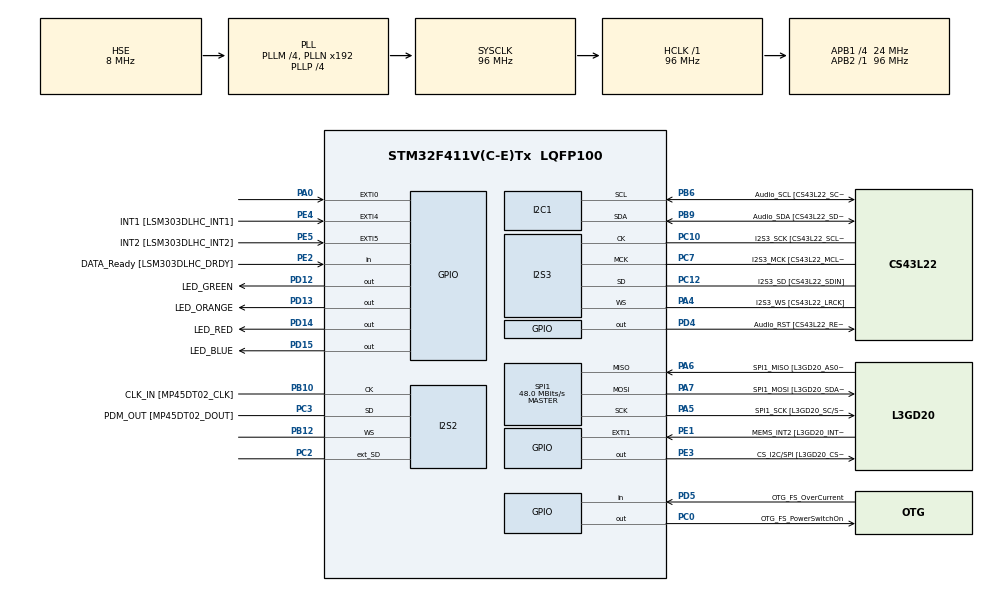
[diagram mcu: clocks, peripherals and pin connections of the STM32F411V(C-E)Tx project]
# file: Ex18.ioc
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FREERTOS.INCLUDE_vTaskDelayUntil=1
FREERTOS.Tasks01=FlashGreenLed,0,128,StartFlashGreenLedTask,Default,NULL,Dynamic,NULL,NULL;FlashRedLed,0,128,StartFlashRedLedTask,Default,NULL,Dynamic,NULL,NULL;FlashingRateCon,0,128,FlashingRateControlTask,Default,NULL,Dynamic,NULL,NULL
FREERTOS.configUSE_NEWLIB_REENTRANT=1
I2S2.AudioFreq=I2S_AUDIOFREQ_96K
I2S2.ErrorAudioFreq=0.15 %
I2S2.FullDuplexMode=I2S_FULLDUPLEXMODE_ENABLE
I2S2.Instance=SPI$Index
I2S2.RealAudioFreq=96.153 KHz
I2S2.VirtualMode=I2S_MODE_MASTER
I2S3.AudioFreq=I2S_AUDIOFREQ_96K
I2S3.ErrorAudioFreq=-6.99 %
I2S3.FullDuplexMode=I2S_FULLDUPLEXMODE_DISABLE
I2S3.Instance=SPI$Index
I2S3.RealAudioFreq=89.285 KHz
I2S3.VirtualMode=I2S_MODE_MASTER
Mcu.Family=STM32F4
Mcu.Name=STM32F411V(C-E)Tx
Mcu.Package=LQFP100
NVIC.PriorityGroup=NVIC_PRIORITYGROUP_4
NVIC.TIM1_UP_TIM10_IRQn=true\:15\:0\:false\:false\:true\:false\:false\:true\:true
NVIC.TimeBase=TIM1_UP_TIM10_IRQn
NVIC.TimeBaseIP=TIM1
PA0-WKUP.GPIO_ModeDefaultEXTI=GPIO_MODE_EVT_RISING
PA0-WKUP.Signal=GPXTI0
PA10.GPIO_Label=OTG_FS_ID
PA10.Signal=USB_OTG_FS_ID
PA11.GPIO_Label=OTG_FS_DM
PA11.Signal=USB_OTG_FS_DM
PA12.GPIO_Label=OTG_FS_DP
PA12.Signal=USB_OTG_FS_DP
PA13.GPIO_Label=SWDIO
PA13.Mode=Serial_Wire
PA13.Signal=SYS_JTMS-SWDIO
PA14.GPIO_Label=SWCLK
PA14.Mode=Serial_Wire
PA14.Signal=SYS_JTCK-SWCLK
PA4.GPIO_Label=I2S3_WS [CS43L22_LRCK]
PA4.GPIO_Mode=GPIO_MODE_AF_PP
PA4.GPIO_PuPd=GPIO_NOPULL
PA4.GPIO_Speed=GPIO_SPEED_FREQ_LOW
PA4.Mode=Half_Duplex_Master
PA4.Signal=I2S3_WS
PA5.GPIO_Label=SPI1_SCK [L3GD20_SC/SPC]
PA5.Mode=Full_Duplex_Master
PA5.Signal=SPI1_SCK
PA6.GPIO_Label=SPI1_MISO [L3GD20_AS0/SDO]
PA6.Mode=Full_Duplex_Master
PA6.Signal=SPI1_MISO
PA7.GPIO_Label=SPI1_MOSI [L3GD20_SDA/SDI/SDO]
PA7.Mode=Full_Duplex_Master
PA7.Signal=SPI1_MOSI
PA9.GPIO_Label=VBUS_FS
PA9.Signal=USB_OTG_FS_VBUS
PB10.GPIO_Label=CLK_IN [MP45DT02_CLK]
PB10.Mode=Full_Duplex_Master
PB10.Signal=I2S2_CK
PB12.Mode=Full_Duplex_Master
PB12.Signal=I2S2_WS
PB3.GPIO_Label=SWO
PB3.Signal=SYS_JTDO-SWO
PB6.GPIO_Label=Audio_SCL [CS43L22_SCL]
PB6.GPIO_Mode=GPIO_MODE_AF_OD
PB6.GPIO_Pu=GPIO_PULLUP
PB6.GPIO_PuPd=GPIO_NOPULL
PB6.GPIO_Speed=GPIO_SPEED_FREQ_LOW
PB6.Mode=I2C
PB6.Signal=I2C1_SCL
PB9.GPIO_Label=Audio_SDA [CS43L22_SDA]
PB9.GPIO_Mode=GPIO_MODE_AF_OD
PB9.GPIO_Pu=GPIO_PULLUP
PB9.GPIO_PuPd=GPIO_NOPULL
PB9.GPIO_Speed=GPIO_SPEED_FREQ_LOW
PB9.Mode=I2C
PB9.Signal=I2C1_SDA
PC0.GPIO_Label=OTG_FS_PowerSwitchOn
PC0.PinState=GPIO_PIN_SET
PC0.Signal=GPIO_Output
PC10.GPIO_Label=I2S3_SCK [CS43L22_SCLK]
PC10.GPIO_Mode=GPIO_MODE_AF_PP
PC10.GPIO_PuPd=GPIO_NOPULL
PC10.GPIO_Speed=GPIO_SPEED_FREQ_LOW
PC10.Mode=Half_Duplex_Master
PC10.Signal=I2S3_CK
PC12.GPIO_Label=I2S3_SD [CS43L22_SDIN]
PC12.GPIO_Mode=GPIO_MODE_AF_PP
PC12.GPIO_PuPd=GPIO_NOPULL
PC12.GPIO_Speed=GPIO_SPEED_FREQ_LOW
PC12.Mode=Half_Duplex_Master
PC12.Signal=I2S3_SD
PC14-OSC32_IN.GPIO_Label=PC14-OSC32_IN
PC14-OSC32_IN.Mode=LSE-External-Oscillator
PC14-OSC32_IN.Signal=RCC_OSC32_IN
PC15-OSC32_OUT.GPIO_Label=PC15-OSC32_OUT
PC15-OSC32_OUT.Mode=LSE-External-Oscillator
PC15-OSC32_OUT.Signal=RCC_OSC32_OUT
PC2.Mode=Full_Duplex_Master
PC2.Signal=I2S2_ext_SD
PC3.GPIO_Label=PDM_OUT [MP45DT02_DOUT]
PC3.Mode=Full_Duplex_Master
PC3.Signal=I2S2_SD
PC7.GPIO_Label=I2S3_MCK [CS43L22_MCLK]
PC7.GPIO_Mode=GPIO_MODE_AF_PP
PC7.GPIO_PuPd=GPIO_NOPULL
PC7.GPIO_Speed=GPIO_SPEED_FREQ_LOW
PC7.Mode=Master_Clock_Activated
PC7.Signal=I2S3_MCK
PD12.GPIO_Label=LED_GREEN
PD12.GPIO_PuPd=GPIO_NOPULL
PD12.GPIO_Speed=GPIO_SPEED_FREQ_LOW
PD12.Signal=GPIO_Output
PD13.GPIO_Label=LED_ORANGE
PD13.GPIO_PuPd=GPIO_NOPULL
PD13.GPIO_Speed=GPIO_SPEED_FREQ_LOW
PD13.Signal=GPIO_Output
PD14.GPIO_Label=LED_RED
PD14.GPIO_PuPd=GPIO_NOPULL
PD14.GPIO_Speed=GPIO_SPEED_FREQ_LOW
PD14.Signal=GPIO_Output
PD15.GPIO_Label=LED_BLUE
PD15.GPIO_PuPd=GPIO_NOPULL
PD15.GPIO_Speed=GPIO_SPEED_FREQ_LOW
PD15.Signal=GPIO_Output
PD4.GPIO_Label=Audio_RST [CS43L22_RESET]
PD4.Signal=GPIO_Output
PD5.GPIO_Label=OTG_FS_OverCurrent
PD5.Signal=GPIO_Input
PE1.GPIO_Label=MEMS_INT2 [L3GD20_INT2]
PE1.GPIO_ModeDefaultEXTI=GPIO_MODE_EVT_RISING
PE1.Signal=GPXTI1
PE2.GPIO_Label=DATA_Ready [LSM303DLHC_DRDY]
PE2.Signal=GPIO_Input
PE3.GPIO_Label=CS_I2C/SPI [L3GD20_CS_I2C/SPI]
PE3.Signal=GPIO_Output
PE4.GPIO_Label=INT1 [LSM303DLHC_INT1]
PE4.GPIO_ModeDefaultEXTI=GPIO_MODE_EVT_RISING
PE4.Signal=GPXTI4
PE5.GPIO_Label=INT2 [LSM303DLHC_INT2]
PE5.GPIO_ModeDefaultEXTI=GPIO_MODE_EVT_RISING
PE5.Signal=GPXTI5
PH0\ -\ OSC_IN.GPIO_Label=PH0-OSC_IN
PH0\ -\ OSC_IN.Mode=HSE-External-Oscillator
PH0\ -\ OSC_IN.Signal=RCC_OSC_IN
PH1\ -\ OSC_OUT.GPIO_Label=PH1-OSC_OUT
PH1\ -\ OSC_OUT.Mode=HSE-External-Oscillator
PH1\ -\ OSC_OUT.Signal=RCC_OSC_OUT
ProjectManager.HeapSize=0x200
ProjectManager.StackSize=0x400
ProjectManager.TargetToolchain=STM32CubeIDE
RCC.48MHZClocksFreq_Value=48000000
RCC.AHBFreq_Value=96000000
RCC.APB1CLKDivider=RCC_HCLK_DIV4
RCC.APB1Freq_Value=24000000
RCC.APB1TimFreq_Value=48000000
RCC.APB2Freq_Value=96000000
RCC.APB2TimFreq_Value=96000000
RCC.CortexFreq_Value=96000000
RCC.HCLKFreq_Value=96000000
RCC.HSE_VALUE=8000000
RCC.HSI_VALUE=16000000
RCC.PLLI2SM=5
RCC.PLLI2SN=200
RCC.PLLM=4
RCC.PLLP=RCC_PLLP_DIV4
RCC.PLLQ=8
RCC.PLLSourceVirtual=RCC_PLLSOURCE_HSE
RCC.SYSCLKFreq_VALUE=96000000
RCC.SYSCLKSource=RCC_SYSCLKSOURCE_PLLCLK
RCC.VCOOutputFreq_Value=384000000
SPI1.BaudRatePrescaler=SPI_BAUDRATEPRESCALER_2
SPI1.CalculateBaudRate=48.0 MBits/s
SPI1.Direction=SPI_DIRECTION_2LINES
SPI1.Mode=SPI_MODE_MASTER
SPI1.VirtualType=VM_MASTER
VP_FREERTOS_VS_CMSIS_V1.Mode=CMSIS_V1
VP_SYS_VS_tim1.Mode=TIM1
board=STM32F411E-DISCO

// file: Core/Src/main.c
/* USER CODE BEGIN Header */
/**
  ******************************************************************************
  * @file           : main.c
  * @brief          : Main program body
  ******************************************************************************
  * @attention
  *
  * Copyright (c) 2024 STMicroelectronics.
  * All rights reserved.
  *
  * This software is licensed under terms that can be found in the LICENSE file
  * in the root directory of this software component.
  * If no LICENSE file comes with this software, it is provided AS-IS.
  *
  ******************************************************************************
  */
/* USER CODE END Header */
#include "main.h"
#include "cmsis_os.h"
#include "PoolObject.h"

I2C_HandleTypeDef hi2c1;

I2S_HandleTypeDef hi2s2;
I2S_HandleTypeDef hi2s3;

SPI_HandleTypeDef hspi1;

osThreadId FlashGreenLedHandle;
osThreadId FlashRedLedHandle;
osThreadId FlashingRateConHandle;

void SystemClock_Config(void);
void PeriphCommonClock_Config(void);
static void MX_GPIO_Init(void);
static void MX_I2C1_Init(void);
static void MX_I2S2_Init(void);
static void MX_I2S3_Init(void);
static void MX_SPI1_Init(void);
void StartFlashGreenLedTask(void const * argument);
void StartFlashRedLedTask(void const * argument);
void FlashingRateControlTask(void const * argument);

int main(void)
{

  /* MCU Configuration--------------------------------------------------------*/

  /* Reset of all peripherals, Initializes the Flash interface and the Systick. */
  HAL_Init();

  /* Configure the system clock */
  SystemClock_Config();

/* Configure the peripherals common clocks */
  PeriphCommonClock_Config();

  /* Initialize all configured peripherals */
  MX_GPIO_Init();
  MX_I2C1_Init();
  MX_I2S2_Init();
  MX_I2S3_Init();
  MX_SPI1_Init();

  /* Create the thread(s) */
  /* definition and creation of FlashGreenLed */
  osThreadDef(FlashGreenLed, StartFlashGreenLedTask, osPriorityNormal, 0, 128);
  FlashGreenLedHandle = osThreadCreate(osThread(FlashGreenLed), NULL);

  /* definition and creation of FlashRedLed */
  osThreadDef(FlashRedLed, StartFlashRedLedTask, osPriorityNormal, 0, 128);
  FlashRedLedHandle = osThreadCreate(osThread(FlashRedLed), NULL);

  /* definition and creation of FlashingRateCon */
  osThreadDef(FlashingRateCon, FlashingRateControlTask, osPriorityNormal, 0, 128);
  FlashingRateConHandle = osThreadCreate(osThread(FlashingRateCon), NULL);

  /* Start scheduler */
  osKernelStart();

  /* We should never get here as control is now taken by the scheduler */

  /* Infinite loop */
  while (1)
  {

  }
}

void SystemClock_Config(void)
{
  RCC_OscInitTypeDef RCC_OscInitStruct = {0};
  RCC_ClkInitTypeDef RCC_ClkInitStruct = {0};

  /** Configure the main internal regulator output voltage
  */
  __HAL_RCC_PWR_CLK_ENABLE();
  __HAL_PWR_VOLTAGESCALING_CONFIG(PWR_REGULATOR_VOLTAGE_SCALE1);

  /** Initializes the RCC Oscillators according to the specified parameters
  * in the RCC_OscInitTypeDef structure.
  */
  RCC_OscInitStruct.OscillatorType = RCC_OSCILLATORTYPE_HSE;
  RCC_OscInitStruct.HSEState = RCC_HSE_ON;
  RCC_OscInitStruct.PLL.PLLState = RCC_PLL_ON;
  RCC_OscInitStruct.PLL.PLLSource = RCC_PLLSOURCE_HSE;
  RCC_OscInitStruct.PLL.PLLM = 4;
  RCC_OscInitStruct.PLL.PLLN = 192;
  RCC_OscInitStruct.PLL.PLLP = RCC_PLLP_DIV4;
  RCC_OscInitStruct.PLL.PLLQ = 8;
  if (HAL_RCC_OscConfig(&RCC_OscInitStruct) != HAL_OK)
  {
    Error_Handler();
  }

  /** Initializes the CPU, AHB and APB buses clocks
  */
  RCC_ClkInitStruct.ClockType = RCC_CLOCKTYPE_HCLK|RCC_CLOCKTYPE_SYSCLK
                              |RCC_CLOCKTYPE_PCLK1|RCC_CLOCKTYPE_PCLK2;
  RCC_ClkInitStruct.SYSCLKSource = RCC_SYSCLKSOURCE_PLLCLK;
  RCC_ClkInitStruct.AHBCLKDivider = RCC_SYSCLK_DIV1;
  RCC_ClkInitStruct.APB1CLKDivider = RCC_HCLK_DIV4;
  RCC_ClkInitStruct.APB2CLKDivider = RCC_HCLK_DIV1;

  if (HAL_RCC_ClockConfig(&RCC_ClkInitStruct, FLASH_LATENCY_3) != HAL_OK)
  {
    Error_Handler();
  }
}

void PeriphCommonClock_Config(void)
{
  RCC_PeriphCLKInitTypeDef PeriphClkInitStruct = {0};

  /** Initializes the peripherals clock
  */
  PeriphClkInitStruct.PeriphClockSelection = RCC_PERIPHCLK_I2S;
  PeriphClkInitStruct.PLLI2S.PLLI2SN = 200;
  PeriphClkInitStruct.PLLI2S.PLLI2SM = 5;
  PeriphClkInitStruct.PLLI2S.PLLI2SR = 2;
  if (HAL_RCCEx_PeriphCLKConfig(&PeriphClkInitStruct) != HAL_OK)
  {
    Error_Handler();
  }
}

static void MX_I2C1_Init(void)
{

  hi2c1.Instance = I2C1;
  hi2c1.Init.ClockSpeed = 100000;
  hi2c1.Init.DutyCycle = I2C_DUTYCYCLE_2;
  hi2c1.Init.OwnAddress1 = 0;
  hi2c1.Init.AddressingMode = I2C_ADDRESSINGMODE_7BIT;
  hi2c1.Init.DualAddressMode = I2C_DUALADDRESS_DISABLE;
  hi2c1.Init.OwnAddress2 = 0;
  hi2c1.Init.GeneralCallMode = I2C_GENERALCALL_DISABLE;
  hi2c1.Init.NoStretchMode = I2C_NOSTRETCH_DISABLE;
  if (HAL_I2C_Init(&hi2c1) != HAL_OK)
  {
    Error_Handler();
  }

}

static void MX_I2S2_Init(void)
{

  hi2s2.Instance = SPI2;
  hi2s2.Init.Mode = I2S_MODE_MASTER_TX;
  hi2s2.Init.Standard = I2S_STANDARD_PHILIPS;
  hi2s2.Init.DataFormat = I2S_DATAFORMAT_16B;
  hi2s2.Init.MCLKOutput = I2S_MCLKOUTPUT_DISABLE;
  hi2s2.Init.AudioFreq = I2S_AUDIOFREQ_96K;
  hi2s2.Init.CPOL = I2S_CPOL_LOW;
  hi2s2.Init.ClockSource = I2S_CLOCK_PLL;
  hi2s2.Init.FullDuplexMode = I2S_FULLDUPLEXMODE_ENABLE;
  if (HAL_I2S_Init(&hi2s2) != HAL_OK)
  {
    Error_Handler();
  }

}

static void MX_I2S3_Init(void)
{

  hi2s3.Instance = SPI3;
  hi2s3.Init.Mode = I2S_MODE_MASTER_TX;
  hi2s3.Init.Standard = I2S_STANDARD_PHILIPS;
  hi2s3.Init.DataFormat = I2S_DATAFORMAT_16B;
  hi2s3.Init.MCLKOutput = I2S_MCLKOUTPUT_ENABLE;
  hi2s3.Init.AudioFreq = I2S_AUDIOFREQ_96K;
  hi2s3.Init.CPOL = I2S_CPOL_LOW;
  hi2s3.Init.ClockSource = I2S_CLOCK_PLL;
  hi2s3.Init.FullDuplexMode = I2S_FULLDUPLEXMODE_DISABLE;
  if (HAL_I2S_Init(&hi2s3) != HAL_OK)
  {
    Error_Handler();
  }

}

static void MX_SPI1_Init(void)
{

  /* SPI1 parameter configuration*/
  hspi1.Instance = SPI1;
  hspi1.Init.Mode = SPI_MODE_MASTER;
  hspi1.Init.Direction = SPI_DIRECTION_2LINES;
  hspi1.Init.DataSize = SPI_DATASIZE_8BIT;
  hspi1.Init.CLKPolarity = SPI_POLARITY_LOW;
  hspi1.Init.CLKPhase = SPI_PHASE_1EDGE;
  hspi1.Init.NSS = SPI_NSS_SOFT;
  hspi1.Init.BaudRatePrescaler = SPI_BAUDRATEPRESCALER_2;
  hspi1.Init.FirstBit = SPI_FIRSTBIT_MSB;
  hspi1.Init.TIMode = SPI_TIMODE_DISABLE;
  hspi1.Init.CRCCalculation = SPI_CRCCALCULATION_DISABLE;
  hspi1.Init.CRCPolynomial = 10;
  if (HAL_SPI_Init(&hspi1) != HAL_OK)
  {
    Error_Handler();
  }

}

static void MX_GPIO_Init(void)
{
  GPIO_InitTypeDef GPIO_InitStruct = {0};

  /* GPIO Ports Clock Enable */
  __HAL_RCC_GPIOE_CLK_ENABLE();
  __HAL_RCC_GPIOC_CLK_ENABLE();
  __HAL_RCC_GPIOH_CLK_ENABLE();
  __HAL_RCC_GPIOA_CLK_ENABLE();
  __HAL_RCC_GPIOB_CLK_ENABLE();
  __HAL_RCC_GPIOD_CLK_ENABLE();

  /*Configure GPIO pin Output Level */
  HAL_GPIO_WritePin(CS_I2C_SPI_GPIO_Port, CS_I2C_SPI_Pin, GPIO_PIN_RESET);

  /*Configure GPIO pin Output Level */
  HAL_GPIO_WritePin(OTG_FS_PowerSwitchOn_GPIO_Port, OTG_FS_PowerSwitchOn_Pin, GPIO_PIN_SET);

  /*Configure GPIO pin Output Level */
  HAL_GPIO_WritePin(GPIOD, LED_GREEN_Pin|LED_ORANGE_Pin|LED_RED_Pin|LED_BLUE_Pin
                          |Audio_RST_Pin, GPIO_PIN_RESET);

  /*Configure GPIO pin : DATA_Ready_Pin */
  GPIO_InitStruct.Pin = DATA_Ready_Pin;
  GPIO_InitStruct.Mode = GPIO_MODE_INPUT;
  GPIO_InitStruct.Pull = GPIO_NOPULL;
  HAL_GPIO_Init(DATA_Ready_GPIO_Port, &GPIO_InitStruct);

  /*Configure GPIO pin : CS_I2C_SPI_Pin */
  GPIO_InitStruct.Pin = CS_I2C_SPI_Pin;
  GPIO_InitStruct.Mode = GPIO_MODE_OUTPUT_PP;
  GPIO_InitStruct.Pull = GPIO_NOPULL;
  GPIO_InitStruct.Speed = GPIO_SPEED_FREQ_LOW;
  HAL_GPIO_Init(CS_I2C_SPI_GPIO_Port, &GPIO_InitStruct);

  /*Configure GPIO pins : INT1_Pin INT2_Pin MEMS_INT2_Pin */
  GPIO_InitStruct.Pin = INT1_Pin|INT2_Pin|MEMS_INT2_Pin;
  GPIO_InitStruct.Mode = GPIO_MODE_EVT_RISING;
  GPIO_InitStruct.Pull = GPIO_NOPULL;
  HAL_GPIO_Init(GPIOE, &GPIO_InitStruct);

  /*Configure GPIO pin : OTG_FS_PowerSwitchOn_Pin */
  GPIO_InitStruct.Pin = OTG_FS_PowerSwitchOn_Pin;
  GPIO_InitStruct.Mode = GPIO_MODE_OUTPUT_PP;
  GPIO_InitStruct.Pull = GPIO_NOPULL;
  GPIO_InitStruct.Speed = GPIO_SPEED_FREQ_LOW;
  HAL_GPIO_Init(OTG_FS_PowerSwitchOn_GPIO_Port, &GPIO_InitStruct);

  /*Configure GPIO pin : PA0 */
  GPIO_InitStruct.Pin = GPIO_PIN_0;
  GPIO_InitStruct.Mode = GPIO_MODE_EVT_RISING;
  GPIO_InitStruct.Pull = GPIO_NOPULL;
  HAL_GPIO_Init(GPIOA, &GPIO_InitStruct);

  /*Configure GPIO pins : LED_GREEN_Pin LED_ORANGE_Pin LED_RED_Pin LED_BLUE_Pin
                           Audio_RST_Pin */
  GPIO_InitStruct.Pin = LED_GREEN_Pin|LED_ORANGE_Pin|LED_RED_Pin|LED_BLUE_Pin
                          |Audio_RST_Pin;
  GPIO_InitStruct.Mode = GPIO_MODE_OUTPUT_PP;
  GPIO_InitStruct.Pull = GPIO_NOPULL;
  GPIO_InitStruct.Speed = GPIO_SPEED_FREQ_LOW;
  HAL_GPIO_Init(GPIOD, &GPIO_InitStruct);

  /*Configure GPIO pin : VBUS_FS_Pin */
  GPIO_InitStruct.Pin = VBUS_FS_Pin;
  GPIO_InitStruct.Mode = GPIO_MODE_INPUT;
  GPIO_InitStruct.Pull = GPIO_NOPULL;
  HAL_GPIO_Init(VBUS_FS_GPIO_Port, &GPIO_InitStruct);

  /*Configure GPIO pins : OTG_FS_ID_Pin OTG_FS_DM_Pin OTG_FS_DP_Pin */
  GPIO_InitStruct.Pin = OTG_FS_ID_Pin|OTG_FS_DM_Pin|OTG_FS_DP_Pin;
  GPIO_InitStruct.Mode = GPIO_MODE_AF_PP;
  GPIO_InitStruct.Pull = GPIO_NOPULL;
  GPIO_InitStruct.Speed = GPIO_SPEED_FREQ_VERY_HIGH;
  GPIO_InitStruct.Alternate = GPIO_AF10_OTG_FS;
  HAL_GPIO_Init(GPIOA, &GPIO_InitStruct);

  /*Configure GPIO pin : OTG_FS_OverCurrent_Pin */
  GPIO_InitStruct.Pin = OTG_FS_OverCurrent_Pin;
  GPIO_InitStruct.Mode = GPIO_MODE_INPUT;
  GPIO_InitStruct.Pull = GPIO_NOPULL;
  HAL_GPIO_Init(OTG_FS_OverCurrent_GPIO_Port, &GPIO_InitStruct);

}

/* USER CODE BEGIN 4 */
/**
 * Function that decides what Hz to flash the led
 * x = Hz, color = led color, time = how long to run for
 */
void FlashLED(int x, uint16_t color, int time)
{
	//Flash at 1Hz
	if(x==1)
	{
		for(int i=0;i<time;++i)
		{
			HAL_GPIO_WritePin(GPIOD, color, GPIO_PIN_SET);
			osDelay(500);
			HAL_GPIO_WritePin(GPIOD, color, GPIO_PIN_RESET);
			osDelay(500);
		}

	}
	//Flash at 10Hz
	else if(x==10)
	{
		for(int i=0;i<time*10;++i)
		{
			HAL_GPIO_WritePin(GPIOD, color, GPIO_PIN_SET);
			osDelay(50);
			HAL_GPIO_WritePin(GPIOD, color, GPIO_PIN_RESET);
			osDelay(50);
		}
	}
}

/* USER CODE END 4 */

void StartFlashGreenLedTask(void const * argument)
{
  /* USER CODE BEGIN 5 */
	int x, y;
	InitSemaphores();
  /* Infinite loop */
	for(;;)
  {
	  x = GetGreenFlashRate();//Get 10 Hz
	  FlashLED(x, LED_GREEN_Pin, 10);

	  y = GetGreenFlashRate();//Get 1 Hz
	  FlashLED(y, LED_GREEN_Pin, 10);
  }
  /* USER CODE END 5 */
}

void StartFlashRedLedTask(void const * argument)
{
  /* USER CODE BEGIN StartFlashRedLedTask */
	int x;
	InitSemaphores();
  /* Infinite loop */
  for(;;)
  {
	  x = GetRedFlashRate();//Get 1 Hz
	  FlashLED(x, LED_RED_Pin, 6);

	  x = GetRedFlashRate();//Get 10 Hz
	  FlashLED(x, LED_RED_Pin, 6);
  }
  /* USER CODE END StartFlashRedLedTask */
}

void FlashingRateControlTask(void const * argument)
{
  /* USER CODE BEGIN FlashingRateControlTask */
	InitSemaphores();
  /* Infinite loop */
  for(;;)
  {
    osDelay(8000);
    SetGreenFlashRate(10);
    SetRedFlashRate(1);

    osDelay(8000);
    SetGreenFlashRate(1);
    SetRedFlashRate(10);
  }
  /* USER CODE END FlashingRateControlTask */
}

void HAL_TIM_PeriodElapsedCallback(TIM_HandleTypeDef *htim)
{
  if (htim->Instance == TIM1) {
    HAL_IncTick();
  }
}

void Error_Handler(void)
{
  __disable_irq();
  while (1)
  {
  }
}
